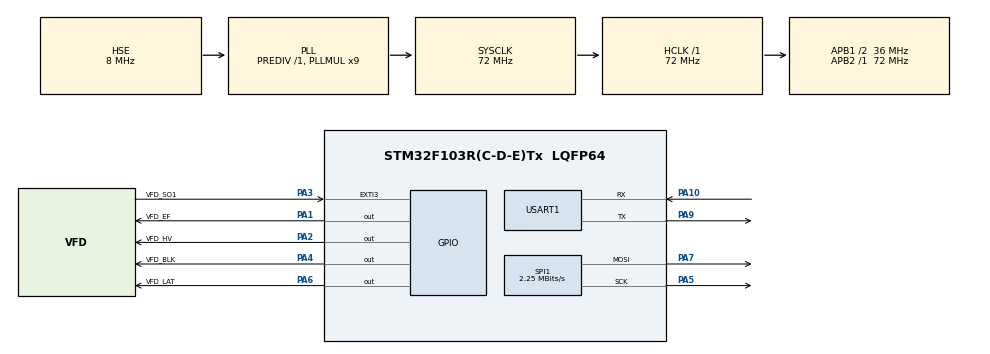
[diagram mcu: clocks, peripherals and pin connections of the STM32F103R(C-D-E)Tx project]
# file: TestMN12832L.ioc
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IWDG.Reload=512
Mcu.Family=STM32F1
Mcu.Name=STM32F103R(C-D-E)Tx
Mcu.Package=LQFP64
NVIC.EXTI3_IRQn=true\:14\:0\:true\:false\:true\:true\:true\:true
NVIC.PriorityGroup=NVIC_PRIORITYGROUP_4
NVIC.TIM6_IRQn=true\:0\:0\:false\:false\:true\:true\:true\:true
PA1.GPIO_Label=VFD_EF
PA1.Signal=GPIO_Output
PA10.Mode=Asynchronous
PA10.Signal=USART1_RX
PA2.GPIO_Label=VFD_HV
PA2.Signal=GPIO_Output
PA3.GPIO_Label=VFD_SO1
PA3.GPIO_ModeDefaultEXTI=GPIO_MODE_IT_RISING_FALLING
PA3.GPIO_PuPd=GPIO_PULLDOWN
PA3.Signal=GPXTI3
PA4.GPIO_Label=VFD_BLK
PA4.GPIO_Speed=GPIO_SPEED_FREQ_HIGH
PA4.PinState=GPIO_PIN_SET
PA4.Signal=GPIO_Output
PA5.Mode=TX_Only_Simplex_Unidirect_Master
PA5.Signal=SPI1_SCK
PA6.GPIO_Label=VFD_LAT
PA6.GPIO_Speed=GPIO_SPEED_FREQ_HIGH
PA6.PinState=GPIO_PIN_RESET
PA6.Signal=GPIO_Output
PA7.Mode=TX_Only_Simplex_Unidirect_Master
PA7.Signal=SPI1_MOSI
PA9.Mode=Asynchronous
PA9.Signal=USART1_TX
PC14-OSC32_IN.Mode=LSE-External-Oscillator
PC14-OSC32_IN.Signal=RCC_OSC32_IN
PC15-OSC32_OUT.Mode=LSE-External-Oscillator
PC15-OSC32_OUT.Signal=RCC_OSC32_OUT
PD0-OSC_IN.Mode=HSE-External-Oscillator
PD0-OSC_IN.Signal=RCC_OSC_IN
PD1-OSC_OUT.Mode=HSE-External-Oscillator
PD1-OSC_OUT.Signal=RCC_OSC_OUT
ProjectManager.HeapSize=0x200
ProjectManager.StackSize=0x400
ProjectManager.TargetToolchain=STM32CubeIDE
RCC.AHBFreq_Value=72000000
RCC.APB1CLKDivider=RCC_HCLK_DIV2
RCC.APB1Freq_Value=36000000
RCC.APB1TimFreq_Value=72000000
RCC.APB2Freq_Value=72000000
RCC.APB2TimFreq_Value=72000000
RCC.HCLKFreq_Value=72000000
RCC.PLLMUL=RCC_PLL_MUL9
RCC.PLLSourceVirtual=RCC_PLLSOURCE_HSE
RCC.RTCClockSelection=RCC_RTCCLKSOURCE_LSE
RCC.SYSCLKFreq_VALUE=72000000
RCC.SYSCLKSource=RCC_SYSCLKSOURCE_PLLCLK
RCC.USBFreq_Value=72000000
RTC.Format=RTC_FORMAT_BCD
SPI1.BaudRatePrescaler=SPI_BAUDRATEPRESCALER_32
SPI1.CLKPhase=SPI_PHASE_2EDGE
SPI1.CLKPolarity=SPI_POLARITY_HIGH
SPI1.CalculateBaudRate=2.25 MBits/s
SPI1.Direction=SPI_DIRECTION_2LINES
SPI1.FirstBit=SPI_FIRSTBIT_LSB
SPI1.Mode=SPI_MODE_MASTER
SPI1.VirtualType=VM_MASTER
TIM6.AutoReloadPreload=TIM_AUTORELOAD_PRELOAD_ENABLE
TIM6.Period=100
TIM6.Prescaler=65535
USART1.VirtualMode=VM_ASYNC
USART1.WordLength=WORDLENGTH_8B
VP_IWDG_VS_IWDG.Mode=IWDG_Activate
VP_RTC_VS_RTC_Activate.Mode=RTC_Enabled
VP_SYS_VS_ND.Mode=No_Debug
VP_TIM6_VS_ClockSourceINT.Mode=Enable_Timer
board=custom

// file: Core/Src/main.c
/* USER CODE BEGIN Header */
/**
  ******************************************************************************
  * @file           : main.c
  * @brief          : Main program body
  ******************************************************************************
  * @attention
  *
  * Copyright (c) 2022 STMicroelectronics.
  * All rights reserved.
  *
  * This software is licensed under terms that can be found in the LICENSE file
  * in the root directory of this software component.
  * If no LICENSE file comes with this software, it is provided AS-IS.
  *
  ******************************************************************************
  */
/* USER CODE END Header */
#include "main.h"

/* USER CODE BEGIN Includes */
#include <stdio.h>
#include <stdint.h>
#include <stdbool.h>

#include "ResetSource.h"
#include "MN12832L.h"
/* USER CODE END Includes */

IWDG_HandleTypeDef hiwdg;

RTC_HandleTypeDef hrtc;

SPI_HandleTypeDef hspi1;

TIM_HandleTypeDef htim6;

UART_HandleTypeDef huart1;

/* USER CODE BEGIN PV */
// uint_fast32_t wdEdgeCtr = 0;
bool sysInitComplete = false;
/* USER CODE END PV */

void SystemClock_Config(void);
static void MX_GPIO_Init(void);
static void MX_RTC_Init(void);
static void MX_SPI1_Init(void);
static void MX_USART1_UART_Init(void);
static void MX_IWDG_Init(void);
static void MX_TIM6_Init(void);

int main(void)
{

  /* MCU Configuration--------------------------------------------------------*/

  /* Reset of all peripherals, Initializes the Flash interface and the Systick. */
  HAL_Init();

  /* Configure the system clock */
  SystemClock_Config();

  /* USER CODE BEGIN SysInit */
  enum ResetCause rstCause = resetCauseGet();
  /* USER CODE END SysInit */

  /* Initialize all configured peripherals */
  MX_GPIO_Init();
  MX_RTC_Init();
  MX_SPI1_Init();
  MX_USART1_UART_Init();
  MX_IWDG_Init();
  MX_TIM6_Init();
  /* USER CODE BEGIN 2 */
  sysInitComplete = true; // Let the interrupt handlers know that initialisation is complete
  uint_fast32_t bootNumber = HAL_RTCEx_BKUPRead(&hrtc, 1);
  HAL_RTCEx_BKUPWrite(&hrtc, 1, bootNumber + 1);
  printf("Reset source :%s: Boot number :%i:\a\n", resetCauseGetName(rstCause), bootNumber);
  /* USER CODE END 2 */

  /* Infinite loop */
  /* USER CODE BEGIN WHILE */
  bool enableDisplay = false;
  uint_fast8_t nGateCycles = 0;
  while (1) {
    /* USER CODE END WHILE */

    /* USER CODE BEGIN 3 */
    HAL_IWDG_Refresh(&hiwdg);

    bool gCycle = UpdateMN12832L(enableDisplay);

    if(gCycle) {
    	nGateCycles++;
    	if(nGateCycles > 100) { // Enable HV
            HAL_GPIO_WritePin(VFD_HV_GPIO_Port, VFD_HV_Pin, GPIO_PIN_SET);
    		enableDisplay = true;
    	}
    	if(nGateCycles > 200) { // Enable Filament
            HAL_GPIO_WritePin(VFD_EF_GPIO_Port, VFD_EF_Pin, GPIO_PIN_SET);
    		enableDisplay = true;
    	}
    	if(nGateCycles == 0xFF) {
    		// Start disabling the blanking signal
    		// puts("Enabling display\n");
    		enableDisplay = true;
    	}
    }
  }
  /* USER CODE END 3 */
}

void SystemClock_Config(void)
{
  RCC_OscInitTypeDef RCC_OscInitStruct = {0};
  RCC_ClkInitTypeDef RCC_ClkInitStruct = {0};
  RCC_PeriphCLKInitTypeDef PeriphClkInit = {0};

  /** Initializes the RCC Oscillators according to the specified parameters
  * in the RCC_OscInitTypeDef structure.
  */
  RCC_OscInitStruct.OscillatorType = RCC_OSCILLATORTYPE_LSI|RCC_OSCILLATORTYPE_HSE
                              |RCC_OSCILLATORTYPE_LSE;
  RCC_OscInitStruct.HSEState = RCC_HSE_ON;
  RCC_OscInitStruct.HSEPredivValue = RCC_HSE_PREDIV_DIV1;
  RCC_OscInitStruct.LSEState = RCC_LSE_ON;
  RCC_OscInitStruct.HSIState = RCC_HSI_ON;
  RCC_OscInitStruct.LSIState = RCC_LSI_ON;
  RCC_OscInitStruct.PLL.PLLState = RCC_PLL_ON;
  RCC_OscInitStruct.PLL.PLLSource = RCC_PLLSOURCE_HSE;
  RCC_OscInitStruct.PLL.PLLMUL = RCC_PLL_MUL9;
  if (HAL_RCC_OscConfig(&RCC_OscInitStruct) != HAL_OK)
  {
    Error_Handler();
  }

  /** Initializes the CPU, AHB and APB buses clocks
  */
  RCC_ClkInitStruct.ClockType = RCC_CLOCKTYPE_HCLK|RCC_CLOCKTYPE_SYSCLK
                              |RCC_CLOCKTYPE_PCLK1|RCC_CLOCKTYPE_PCLK2;
  RCC_ClkInitStruct.SYSCLKSource = RCC_SYSCLKSOURCE_PLLCLK;
  RCC_ClkInitStruct.AHBCLKDivider = RCC_SYSCLK_DIV1;
  RCC_ClkInitStruct.APB1CLKDivider = RCC_HCLK_DIV2;
  RCC_ClkInitStruct.APB2CLKDivider = RCC_HCLK_DIV1;

  if (HAL_RCC_ClockConfig(&RCC_ClkInitStruct, FLASH_LATENCY_2) != HAL_OK)
  {
    Error_Handler();
  }
  PeriphClkInit.PeriphClockSelection = RCC_PERIPHCLK_RTC;
  PeriphClkInit.RTCClockSelection = RCC_RTCCLKSOURCE_LSE;
  if (HAL_RCCEx_PeriphCLKConfig(&PeriphClkInit) != HAL_OK)
  {
    Error_Handler();
  }
}

static void MX_IWDG_Init(void)
{

  hiwdg.Instance = IWDG;
  hiwdg.Init.Prescaler = IWDG_PRESCALER_4; // IWDG_PRESCALER_256; //IWDG_PRESCALER_4;
  hiwdg.Init.Reload = 512;
  if (HAL_IWDG_Init(&hiwdg) != HAL_OK)
  {
    Error_Handler();
  }

}

static void MX_RTC_Init(void)
{

  /** Initialize RTC Only
  */
  hrtc.Instance = RTC;
  hrtc.Init.AsynchPrediv = RTC_AUTO_1_SECOND;
  hrtc.Init.OutPut = RTC_OUTPUTSOURCE_ALARM;
  if (HAL_RTC_Init(&hrtc) != HAL_OK)
  {
    Error_Handler();
  }

}

static void MX_SPI1_Init(void)
{

  /* SPI1 parameter configuration*/
  hspi1.Instance = SPI1;
  hspi1.Init.Mode = SPI_MODE_MASTER;
  hspi1.Init.Direction = SPI_DIRECTION_2LINES;
  hspi1.Init.DataSize = SPI_DATASIZE_8BIT;
  hspi1.Init.CLKPolarity = SPI_POLARITY_HIGH;
  hspi1.Init.CLKPhase = SPI_PHASE_2EDGE;
  hspi1.Init.NSS = SPI_NSS_SOFT;
  hspi1.Init.BaudRatePrescaler = SPI_BAUDRATEPRESCALER_32;
  hspi1.Init.FirstBit = SPI_FIRSTBIT_LSB;
  hspi1.Init.TIMode = SPI_TIMODE_DISABLE;
  hspi1.Init.CRCCalculation = SPI_CRCCALCULATION_DISABLE;
  hspi1.Init.CRCPolynomial = 10;
  if (HAL_SPI_Init(&hspi1) != HAL_OK)
  {
    Error_Handler();
  }

}

static void MX_TIM6_Init(void)
{

  TIM_MasterConfigTypeDef sMasterConfig = {0};

  htim6.Instance = TIM6;
  htim6.Init.Prescaler = 65535;
  htim6.Init.CounterMode = TIM_COUNTERMODE_UP;
  htim6.Init.Period = 100;
  htim6.Init.AutoReloadPreload = TIM_AUTORELOAD_PRELOAD_ENABLE;
  if (HAL_TIM_Base_Init(&htim6) != HAL_OK)
  {
    Error_Handler();
  }
  sMasterConfig.MasterOutputTrigger = TIM_TRGO_RESET;
  sMasterConfig.MasterSlaveMode = TIM_MASTERSLAVEMODE_DISABLE;
  if (HAL_TIMEx_MasterConfigSynchronization(&htim6, &sMasterConfig) != HAL_OK)
  {
    Error_Handler();
  }
  /* USER CODE BEGIN TIM6_Init 2 */
  __HAL_TIM_CLEAR_IT(&htim6, TIM_IT_UPDATE);
  HAL_TIM_Base_Start_IT(&htim6);
  /* USER CODE END TIM6_Init 2 */

}

static void MX_USART1_UART_Init(void)
{

  huart1.Instance = USART1;
  huart1.Init.BaudRate = 115200;
  huart1.Init.WordLength = UART_WORDLENGTH_8B;
  huart1.Init.StopBits = UART_STOPBITS_1;
  huart1.Init.Parity = UART_PARITY_NONE;
  huart1.Init.Mode = UART_MODE_TX_RX;
  huart1.Init.HwFlowCtl = UART_HWCONTROL_NONE;
  huart1.Init.OverSampling = UART_OVERSAMPLING_16;
  if (HAL_UART_Init(&huart1) != HAL_OK)
  {
    Error_Handler();
  }

}

static void MX_GPIO_Init(void)
{
  GPIO_InitTypeDef GPIO_InitStruct = {0};

  /* GPIO Ports Clock Enable */
  __HAL_RCC_GPIOC_CLK_ENABLE();
  __HAL_RCC_GPIOD_CLK_ENABLE();
  __HAL_RCC_GPIOA_CLK_ENABLE();

  /*Configure GPIO pin Output Level */
  HAL_GPIO_WritePin(GPIOA, VFD_EF_Pin|VFD_HV_Pin|VFD_LAT_Pin, GPIO_PIN_RESET);

  /*Configure GPIO pin Output Level */
  HAL_GPIO_WritePin(VFD_BLK_GPIO_Port, VFD_BLK_Pin, GPIO_PIN_SET);

  /*Configure GPIO pins : VFD_EF_Pin VFD_HV_Pin */
  GPIO_InitStruct.Pin = VFD_EF_Pin|VFD_HV_Pin;
  GPIO_InitStruct.Mode = GPIO_MODE_OUTPUT_PP;
  GPIO_InitStruct.Pull = GPIO_NOPULL;
  GPIO_InitStruct.Speed = GPIO_SPEED_FREQ_LOW;
  HAL_GPIO_Init(GPIOA, &GPIO_InitStruct);

  /*Configure GPIO pin : VFD_SO1_Pin */
  GPIO_InitStruct.Pin = VFD_SO1_Pin;
  GPIO_InitStruct.Mode = GPIO_MODE_IT_RISING_FALLING;
  GPIO_InitStruct.Pull = GPIO_PULLDOWN;
  HAL_GPIO_Init(VFD_SO1_GPIO_Port, &GPIO_InitStruct);

  /*Configure GPIO pins : VFD_BLK_Pin VFD_LAT_Pin */
  GPIO_InitStruct.Pin = VFD_BLK_Pin|VFD_LAT_Pin;
  GPIO_InitStruct.Mode = GPIO_MODE_OUTPUT_PP;
  GPIO_InitStruct.Pull = GPIO_NOPULL;
  GPIO_InitStruct.Speed = GPIO_SPEED_FREQ_HIGH;
  HAL_GPIO_Init(GPIOA, &GPIO_InitStruct);

  /* EXTI interrupt init*/
  HAL_NVIC_SetPriority(EXTI3_IRQn, 14, 0);
  HAL_NVIC_EnableIRQ(EXTI3_IRQn);

}

void Error_Handler(void)
{
  __disable_irq();
  while (1)
  {
  }
}
